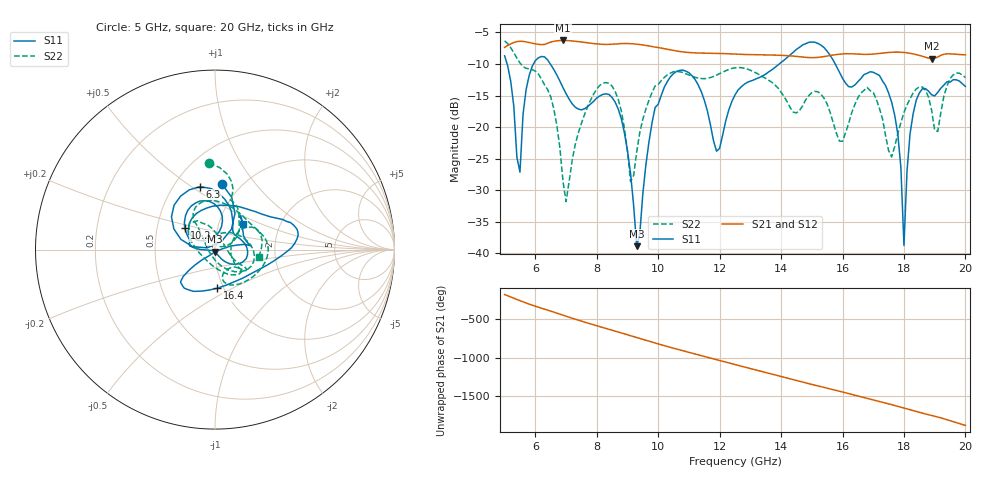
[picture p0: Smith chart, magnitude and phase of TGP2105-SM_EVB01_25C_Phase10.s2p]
! Date: Wednesday, June 05, 2013  1:49 PM
! Filename: C:\Data\Mike_Arnold\TGP2105-SM\Over_Temp\TGP2105-SM_EVB01_25C_Phase10.s2p
! Comments:
!^VDC(V):5.000
!^VDC(mA):0.062
!%Freq(GHz),S11(dB),S11(ang),S21(dB),S21(ang),S12(dB),S12(ang),S22(dB),S22(ang)
# GHz  S  DB  R  50
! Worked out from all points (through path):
!   151 points, 5 GHz to 20 GHz, reference 50 ohm
!   highest |S21| = -6.27 dB at 6.9 GHz (marker M1); lowest = -9.2 dB at 18.9 GHz (marker M2)
!   lowest |S11| = -38.9 dB at 9.3 GHz (marker M3), VSWR 1.02, Z = 49.8 - j1.12 ohm
!   |S11| at or under -10 dB: 5.081 GHz to 5.94 GHz (858.4 MHz wide, 15.6 % of centre); 6.489 GHz to 13.94 GHz (7.451 GHz wide, 72.9 % of centre); 15.76 GHz to end of sweep
!   |S22| runs from -31.8 to -6.3 dB; largest |S21 - S12| = 0.0021
!   S11 on the Smith chart (normalised r, x): 5 GHz: 0.82, +0.69; 6.3 GHz: 0.67, +0.54; 10.2 GHz: 0.69, +0.17; 16.4 GHz: 0.94, -0.42; 20 GHz: 1.30, +0.39
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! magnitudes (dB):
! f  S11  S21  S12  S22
! 5 GHz  -8.7  -7.4  -7.4  -6.3
! 5.5 GHz  -27.1  -6.4  -6.4  -9.8
! 5.7 GHz  -14.1  -6.5  -6.5  -10.7
! 6.3 GHz  -8.9  -6.9  -6.9  -13.3
! 6.9 GHz  -13.7  -6.3  -6.3  -28.5
! 7.5 GHz  -17.3  -6.5  -6.5  -19.4
! 8.7 GHz  -17.1  -6.8  -6.8  -15.6
! 9.1 GHz  -27.3  -6.8  -6.8  -28.6
! 9.3 GHz  -38.9  -6.9  -6.9  -24.0
! 10 GHz  -16.4  -7.4  -7.4  -13.2
! 10.2 GHz  -13.7  -7.6  -7.6  -12.1
! 11.2 GHz  -12.4  -8.2  -8.3  -12.1
! 11.9 GHz  -23.8  -8.3  -8.3  -11.8
! 12.5 GHz  -14.9  -8.4  -8.4  -10.6
! 15 GHz  -6.5  -9.0  -9.0  -14.5
! 16.4 GHz  -13.3  -8.4  -8.4  -16.4
! 17.5 GHz  -14.6  -8.2  -8.2  -23.7
! 17.8 GHz  -21.1  -8.1  -8.1  -21.0
! 18 GHz  -38.8  -8.2  -8.2  -17.7
! 18.3 GHz  -17.9  -8.4  -8.4  -14.6
! 18.9 GHz  -14.9  -9.2  -9.2  -17.3
! 20 GHz  -13.5  -8.6  -8.6  -12.1
